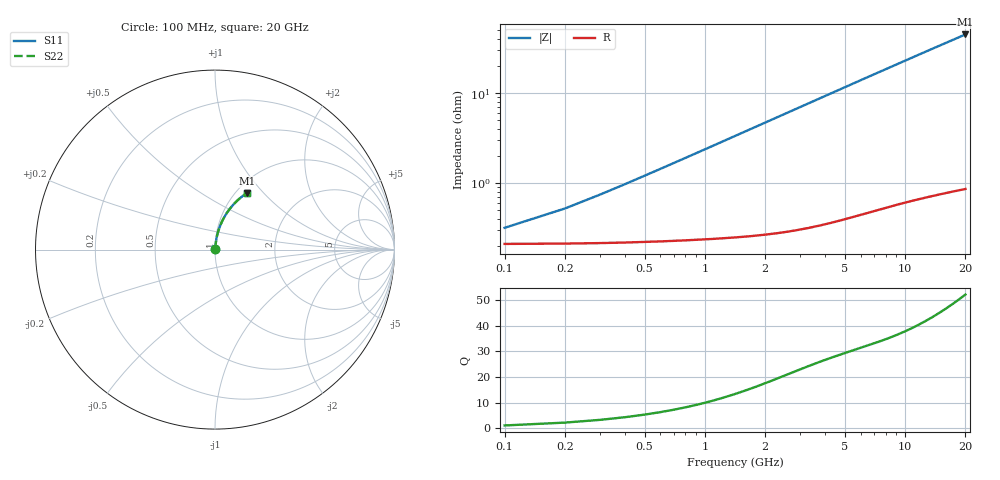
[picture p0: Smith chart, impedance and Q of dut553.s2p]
! Touchstone file exported from HFSS 2026.1.0
!  File:  C:/ffzhzh/LocalFiles/Ansys_Project_Files/temp_train_BSMRDL_553_1783015212_51716.aedt
!  Generated:  02:01:38 AM Jul  3, 2026
!  Design:  BSMRDL
!  Project:  temp_train_BSMRDL_553_1783015212_51716
! Variables:
!  h_bsmrdl = 5.22um
!  h_ox = 20um
!  h_rdl = 5um
!  h_sub = 80um
!  h_tmrdl = 5um
!  h_tsv = 80um
!  h_via = 3um
!  l_bsmrdl = 303.96um
!  l_sub = 703.96um
!  l_tmrdl = 200um
!  m_sub = 200um
!  pitch = 57.61um
!  r_tsv = 6um
!  s_tmrdl = 10um
!  w_bsmrdl = 10.05um
!  w_sub = 500um
!  w_tmrdl = 12um
!  x_tsv_center1 = 206um
!  x_tsv_center2 = 520.01um
!  x_tsv_center3 = 732.01um
!  x_tsv_center4 = 1046.02um
!  x_tsv_center5 = 1258.02um
!  x_tsv_center6 = 1572.03um
# GHz S MA R 50.000000
! Terminal data exported
! Port[1] = BSM_RDL1_1_T1
! Port[2] = BSM_RDL1_1_T2
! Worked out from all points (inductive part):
!   200 points, 100 MHz to 20 GHz, reference 50 ohm
!   read as one part in series: L = 380 pH near 300 MHz
!   highest Q = 52.1 at 20 GHz (marker M1), where L = 358 pH
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0.1  0.002975 44.5  0.9979 -0.2  0.9979 -0.2  0.002975 44.5
! Gamma 0 0 0 0
! Port Impedance 50 0 50 0
0.2  0.004693 62.7  0.9979 -0.3  0.9979 -0.3  0.004693 62.7
0.3  0.006626 70.6  0.9978 -0.5  0.9978 -0.5  0.006625 70.6
0.4  0.008624 74.8  0.9978 -0.6  0.9978 -0.6  0.008624 74.7
0.5  0.01065 77.2  0.9977 -0.8  0.9977 -0.8  0.01065 77.2
0.7  0.01471 80.0  0.9976 -1.1  0.9976 -1.1  0.01471 80.0
0.8  0.01675 80.8  0.9975 -1.2  0.9975 -1.2  0.01675 80.8
1  0.02082 81.9  0.9974 -1.5  0.9974 -1.5  0.02082 81.9
1.2  0.02488 82.5  0.9973 -1.8  0.9973 -1.8  0.02488 82.5
1.4  0.02894 82.9  0.9971 -2.1  0.9971 -2.1  0.02894 82.9
1.7  0.03502 83.2  0.9968 -2.6  0.9968 -2.6  0.03502 83.1
2  0.04109 83.2  0.9965 -3.0  0.9965 -3.0  0.04108 83.2
2.7  0.0552 82.8  0.9956 -4.1  0.9956 -4.1  0.05519 82.8
3.5  0.07121 82.1  0.9942 -5.3  0.9942 -5.3  0.07121 82.1
4.2  0.0851 81.3  0.9928 -6.3  0.9928 -6.3  0.0851 81.3
5  0.1008 80.2  0.991 -7.5  0.991 -7.5  0.1008 80.2
6.8  0.1356 77.8  0.986 -10.1  0.986 -10.1  0.1356 77.9
8.3  0.164 75.8  0.9811 -12.3  0.9811 -12.3  0.164 75.8
10.1  0.1972 73.4  0.9744 -14.9  0.9744 -14.9  0.1972 73.4
13.4  0.2555 69.0  0.96 -19.4  0.96 -19.4  0.2555 69.0
16.7  0.3103 64.7  0.9431 -23.9  0.9431 -23.9  0.3103 64.7
20  0.3613 60.6  0.9245 -28.1  0.9245 -28.1  0.3613 60.6
